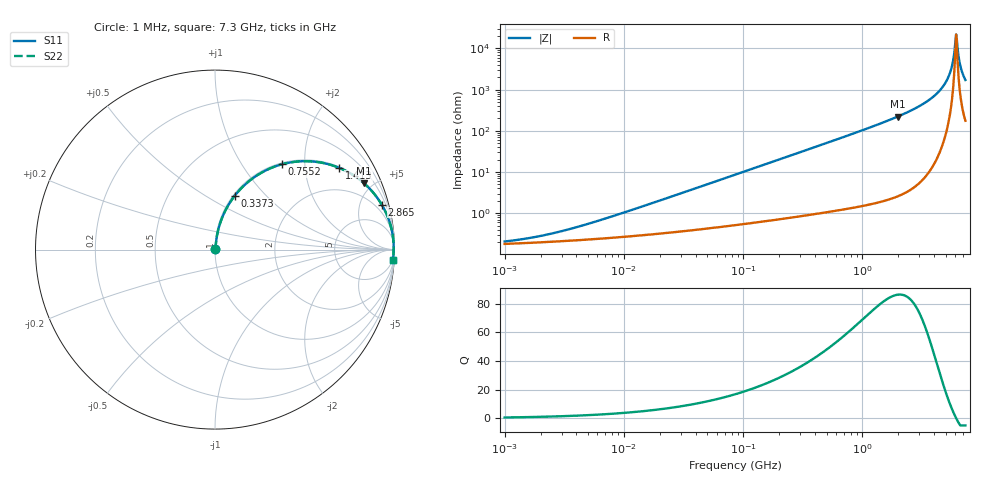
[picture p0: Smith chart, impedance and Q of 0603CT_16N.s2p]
# MHz  S  MA  R  50
!Freq  MagS11  AngS11  MagS21  AngS21  MagS12  AngS12  MagS22  AngS22
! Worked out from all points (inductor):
!   896 points, 1 MHz to 7.3 GHz, reference 50 ohm
!   read as one part in series: L = 16 nH near 7.538 MHz
!   highest Q = 86.2 at 1.982 GHz (marker M1), where L = 17.9 nH
!   self-resonance near 6.103 GHz
!   S11 on the Smith chart (normalised r, x): 1 MHz: 1.00, +0.00; 337.3 MHz: 1.02, +0.68; 755.2 MHz: 1.03, +1.54; 1.413 GHz: 1.04, +3.00; 2.865 GHz: 1.10, +7.38; 7.3 GHz: 5, -34
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1  0.002061 29.1  0.9982 -0.1  0.9982 -0.1  0.002061 29.1
2.047099  0.002849 46.0  0.998 -0.1  0.998 -0.1  0.002849 46.0
4.448423  0.004996 63.0  0.9977 -0.3  0.9977 -0.3  0.004996 63.0
19.59254  0.01989 79.7  0.9966 -1.1  0.9966 -1.1  0.01989 79.7
86.29298  0.08616 81.7  0.9912 -4.9  0.9912 -4.9  0.08616 81.7
337.2902  0.3196 69.9  0.9393 -18.6  0.9393 -18.6  0.3196 69.9
380.067  0.3553 67.8  0.9261 -20.8  0.9261 -20.8  0.3553 67.8
755.153  0.6057 51.8  0.7856 -37.3  0.7856 -37.3  0.6057 51.8
1413.453  0.8275 33.4  0.5512 -55.8  0.5512 -55.8  0.8275 33.4
1673.959  0.872 28.6  0.4793 -60.7  0.4793 -60.7  0.872 28.6
1982.477  0.9084 24.1  0.4078 -65.3  0.4078 -65.3  0.9084 24.1
2864.831  0.962 15.1  0.2606 -74.1  0.2606 -74.1  0.962 15.1
3978.363  0.9867 8.2  0.1422 -80.6  0.1422 -80.6  0.9867 8.2
4902.902  0.9939 4.1  0.07195 -83.0  0.07195 -83.0  0.9939 4.1
5470.013  0.9954 2.1  0.03623 -81.7  0.03623 -81.7  0.9954 2.1
5692.117  0.9956 1.3  0.02344 -78.5  0.02344 -78.5  0.9956 1.3
5923.24  0.9956 0.6  0.01106 -66.2  0.01106 -66.2  0.9956 0.6
6102.72  0.9955 0.0  0.00457 -6.2  0.00457 -6.2  0.9955 0.0
6287.638  0.9952 -0.5  0.01032 62.2  0.01032 62.2  0.9952 -0.5
6542.942  0.9947 -1.3  0.02262 75.9  0.02262 75.9  0.9947 -1.3
6741.199  0.9943 -1.8  0.03217 78.8  0.03217 78.8  0.9943 -1.8
7300  0.9924 -3.3  0.05793 80.8  0.05793 80.8  0.9924 -3.3
